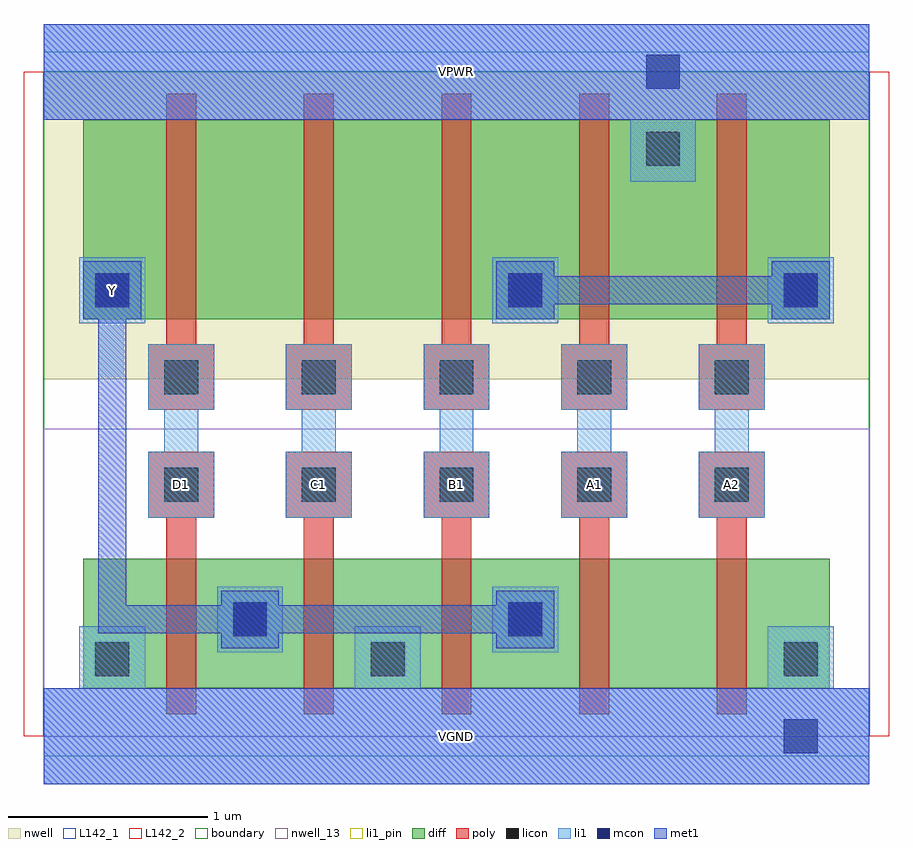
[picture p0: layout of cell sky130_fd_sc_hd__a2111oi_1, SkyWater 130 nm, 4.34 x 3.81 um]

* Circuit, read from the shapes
.subckt sky130_fd_sc_hd__a2111oi_1 A1 A2 B1 C1 D1 VGND VPWR Y
XM1 Y D1 VGND VSUBS sky130_fd_pr__nfet_01v8 w=0.65 l=0.15
XM2 VGND C1 Y VSUBS sky130_fd_pr__nfet_01v8 w=0.65 l=0.15
XM3 Y B1 VGND VSUBS sky130_fd_pr__nfet_01v8 w=0.65 l=0.15
XM4 n1 A1 Y VSUBS sky130_fd_pr__nfet_01v8 w=0.65 l=0.15
XM5 VGND A2 n1 VSUBS sky130_fd_pr__nfet_01v8 w=0.65 l=0.15
XM6 n2 D1 Y n3 sky130_fd_pr__pfet_01v8 w=1 l=0.15
XM7 n4 C1 n2 n3 sky130_fd_pr__pfet_01v8 w=1 l=0.15
XM8 n5 B1 n4 n3 sky130_fd_pr__pfet_01v8 w=1 l=0.15
XM9 VPWR A1 n5 n3 sky130_fd_pr__pfet_01v8 w=1 l=0.15
XM10 n5 A2 VPWR n3 sky130_fd_pr__pfet_01v8 w=1 l=0.15
.ends

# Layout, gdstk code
import gdstk
lib = gdstk.Library(unit=1e-6, precision=1e-09)
def R(c, l, rs):  # rectangles x0, y0, x1, y1
    for r in rs: c.add(gdstk.rectangle(r[:2], r[2:], *l))
def A(c, l, x, y, w, h, nx, ny, dx, dy):  # array of equal rectangles
    R(c, l, [(x+i*dx, y+j*dy, x+i*dx+w, y+j*dy+h) for i in range(nx) for j in range(ny)])
def P(c, l, *ps):  # polygons
    for p in ps: c.add(gdstk.Polygon(p, *l))
nwell_13 = (64, 13)
nwell = (64, 20)
diff = (65, 20)
poly = (66, 20)
licon = (66, 44)
li1_pin = (67, 16)
li1 = (67, 20)
mcon = (67, 44)
met1 = (68, 20)
L142_1 = (142, 1)
L142_2 = (142, 2)
boundary = (235, 4)

sky130_fd_sc_hd__a2111oi = lib.new_cell('sky130_fd_sc_hd__a2111oi_1')
R(sky130_fd_sc_hd__a2111oi, nwell_13, [(0,0,4.14,1.54)])
R(sky130_fd_sc_hd__a2111oi, nwell, [(0,1.79,4.14,3.33)])
A(sky130_fd_sc_hd__a2111oi, diff, 0.615, 0.24, 0.69, 0.65, 4, 1, 0.69, 0)
A(sky130_fd_sc_hd__a2111oi, diff, 0.615, 2.09, 0.69, 1, 4, 1, 0.69, 0)
R(sky130_fd_sc_hd__a2111oi, diff, [(0.2,0.24,3.94,0.89), (0.2,0.24,0.615,0.89), (3.375,0.24,3.94,0.89), (0.2,2.09,3.94,3.09), (0.2,2.09,0.615,3.09), (3.375,2.09,3.94,3.09)])
P(sky130_fd_sc_hd__a2111oi, poly, [(3.375,0.11),(3.375,1.095),(3.285,1.095),(3.285,1.425),(3.615,1.425),(3.615,1.095),(3.525,1.095),(3.525,0.11)],
  [(3.285,1.635),(3.285,1.965),(3.375,1.965),(3.375,3.22),(3.525,3.22),(3.525,1.965),(3.615,1.965),(3.615,1.635)],
  [(2.685,0.11),(2.685,1.095),(2.595,1.095),(2.595,1.425),(2.925,1.425),(2.925,1.095),(2.835,1.095),(2.835,0.11)],
  [(2.595,1.635),(2.595,1.965),(2.685,1.965),(2.685,3.22),(2.835,3.22),(2.835,1.965),(2.925,1.965),(2.925,1.635)],
  [(1.305,0.11),(1.305,1.095),(1.215,1.095),(1.215,1.425),(1.545,1.425),(1.545,1.095),(1.455,1.095),(1.455,0.11)],
  [(1.215,1.635),(1.215,1.965),(1.305,1.965),(1.305,3.22),(1.455,3.22),(1.455,1.965),(1.545,1.965),(1.545,1.635)],
  [(1.995,0.11),(1.995,1.095),(1.905,1.095),(1.905,1.425),(2.235,1.425),(2.235,1.095),(2.145,1.095),(2.145,0.11)],
  [(1.905,1.635),(1.905,1.965),(1.995,1.965),(1.995,3.22),(2.145,3.22),(2.145,1.965),(2.235,1.965),(2.235,1.635)],
  [(0.615,0.11),(0.615,1.095),(0.525,1.095),(0.525,1.425),(0.855,1.425),(0.855,1.095),(0.765,1.095),(0.765,0.11)],
  [(0.525,1.635),(0.525,1.965),(0.615,1.965),(0.615,3.22),(0.765,3.22),(0.765,1.965),(0.855,1.965),(0.855,1.635)])
A(sky130_fd_sc_hd__a2111oi, licon, 0.605, 1.175, 0.17, 0.17, 5, 2, 0.69, 0.54)
R(sky130_fd_sc_hd__a2111oi, licon, [(0.26,0.3,0.43,0.47), (1.64,0.3,1.81,0.47), (3.71,0.3,3.88,0.47), (0.95,0.5,1.12,0.67), (2.33,0.5,2.5,0.67), (0.26,2.15,0.43,2.32), (2.33,2.15,2.5,2.32), (3.71,2.15,3.88,2.32), (3.02,2.86,3.19,3.03)])
R(sky130_fd_sc_hd__a2111oi, li1_pin, [(0,-0.24,4.14,0.24), (0.18,2.07,0.51,2.4), (0,3.09,4.14,3.57)])
P(sky130_fd_sc_hd__a2111oi, li1_pin, [(2.595,1.095),(2.595,1.425),(2.675,1.425),(2.675,1.635),(2.595,1.635),(2.595,1.965),(2.925,1.965),(2.925,1.635),(2.845,1.635),(2.845,1.425),(2.925,1.425),(2.925,1.095)],
  [(1.215,1.095),(1.215,1.425),(1.295,1.425),(1.295,1.635),(1.215,1.635),(1.215,1.965),(1.545,1.965),(1.545,1.635),(1.465,1.635),(1.465,1.425),(1.545,1.425),(1.545,1.095)],
  [(0.525,1.095),(0.525,1.425),(0.605,1.425),(0.605,1.635),(0.525,1.635),(0.525,1.965),(0.855,1.965),(0.855,1.635),(0.775,1.635),(0.775,1.425),(0.855,1.425),(0.855,1.095)],
  [(3.285,1.095),(3.285,1.425),(3.365,1.425),(3.365,1.635),(3.285,1.635),(3.285,1.965),(3.615,1.965),(3.615,1.635),(3.535,1.635),(3.535,1.425),(3.615,1.425),(3.615,1.095)],
  [(1.905,1.095),(1.905,1.425),(1.985,1.425),(1.985,1.635),(1.905,1.635),(1.905,1.965),(2.235,1.965),(2.235,1.635),(2.155,1.635),(2.155,1.425),(2.235,1.425),(2.235,1.095)])
R(sky130_fd_sc_hd__a2111oi, li1, [(0.87,0.42,1.2,0.75), (2.25,0.42,2.58,0.75), (0.18,2.07,0.51,2.4), (2.25,2.07,2.58,2.4), (3.63,2.07,3.96,2.4)])
P(sky130_fd_sc_hd__a2111oi, li1, [(3.285,1.095),(3.285,1.425),(3.365,1.425),(3.365,1.635),(3.285,1.635),(3.285,1.965),(3.615,1.965),(3.615,1.635),(3.535,1.635),(3.535,1.425),(3.615,1.425),(3.615,1.095)],
  [(2.94,2.78),(2.94,3.09),(0,3.09),(0,3.57),(4.14,3.57),(4.14,3.09),(3.27,3.09),(3.27,2.78)],
  [(2.595,1.095),(2.595,1.425),(2.675,1.425),(2.675,1.635),(2.595,1.635),(2.595,1.965),(2.925,1.965),(2.925,1.635),(2.845,1.635),(2.845,1.425),(2.925,1.425),(2.925,1.095)],
  [(0,-0.24),(0,0.24),(0.18,0.24),(0.18,0.55),(0.51,0.55),(0.51,0.24),(1.56,0.24),(1.56,0.55),(1.89,0.55),(1.89,0.24),(3.63,0.24),(3.63,0.55),(3.96,0.55),(3.96,0.24),(4.14,0.24),(4.14,-0.24)],
  [(1.215,1.095),(1.215,1.425),(1.295,1.425),(1.295,1.635),(1.215,1.635),(1.215,1.965),(1.545,1.965),(1.545,1.635),(1.465,1.635),(1.465,1.425),(1.545,1.425),(1.545,1.095)],
  [(1.905,1.095),(1.905,1.425),(1.985,1.425),(1.985,1.635),(1.905,1.635),(1.905,1.965),(2.235,1.965),(2.235,1.635),(2.155,1.635),(2.155,1.425),(2.235,1.425),(2.235,1.095)],
  [(0.525,1.095),(0.525,1.425),(0.605,1.425),(0.605,1.635),(0.525,1.635),(0.525,1.965),(0.855,1.965),(0.855,1.635),(0.775,1.635),(0.775,1.425),(0.855,1.425),(0.855,1.095)])
R(sky130_fd_sc_hd__a2111oi, mcon, [(3.71,-0.085,3.88,0.085), (0.95,0.5,1.12,0.67), (2.33,0.5,2.5,0.67), (0.26,2.15,0.43,2.32), (2.33,2.15,2.5,2.32), (3.71,2.15,3.88,2.32), (3.02,3.245,3.19,3.415)])
R(sky130_fd_sc_hd__a2111oi, met1, [(0,-0.24,4.14,0.24), (0,3.09,4.14,3.57)])
P(sky130_fd_sc_hd__a2111oi, met1, [(0.89,0.44),(0.89,0.515),(0.275,0.515),(0.275,2.09),(0.2,2.09),(0.2,2.38),(0.49,2.38),(0.49,2.09),(0.415,2.09),(0.415,0.655),(0.89,0.655),(0.89,0.73),(1.18,0.73),(1.18,0.655),(2.27,0.655),(2.27,0.73),(2.56,0.73),(2.56,0.44),(2.27,0.44),(2.27,0.515),(1.18,0.515),(1.18,0.44)],
  [(2.27,2.09),(2.27,2.38),(2.56,2.38),(2.56,2.305),(3.65,2.305),(3.65,2.38),(3.94,2.38),(3.94,2.09),(3.65,2.09),(3.65,2.165),(2.56,2.165),(2.56,2.09)])
R(sky130_fd_sc_hd__a2111oi, L142_1, [(0,-0.1,4.14,0), (0,3.33,4.14,3.43)])
R(sky130_fd_sc_hd__a2111oi, L142_2, [(-0.1,0,0,3.33), (4.14,0,4.24,3.33)])
R(sky130_fd_sc_hd__a2111oi, boundary, [(0,0,4.14,3.33)])
sky130_fd_sc_hd__a2111oi.add(gdstk.Label('Y', (0.345,2.235), layer=67, texttype=5))
sky130_fd_sc_hd__a2111oi.add(gdstk.Label('A1', (2.76,1.26), layer=67, texttype=5))
sky130_fd_sc_hd__a2111oi.add(gdstk.Label('C1', (1.38,1.26), layer=67, texttype=5))
sky130_fd_sc_hd__a2111oi.add(gdstk.Label('D1', (0.69,1.26), layer=67, texttype=5))
sky130_fd_sc_hd__a2111oi.add(gdstk.Label('A2', (3.45,1.26), layer=67, texttype=5))
sky130_fd_sc_hd__a2111oi.add(gdstk.Label('B1', (2.07,1.26), layer=67, texttype=5))
sky130_fd_sc_hd__a2111oi.add(gdstk.Label('VGND', (2.07,0), layer=67, texttype=5))
sky130_fd_sc_hd__a2111oi.add(gdstk.Label('VPWR', (2.07,3.33), layer=67, texttype=5))
sky130_fd_sc_hd__a2111oi.add(gdstk.Label('VGND', (2.07,0), layer=68, texttype=5))
sky130_fd_sc_hd__a2111oi.add(gdstk.Label('VPWR', (2.07,3.33), layer=68, texttype=5))

lib.write_gds('sky130_fd_sc_hd__a2111oi_1.gds')
